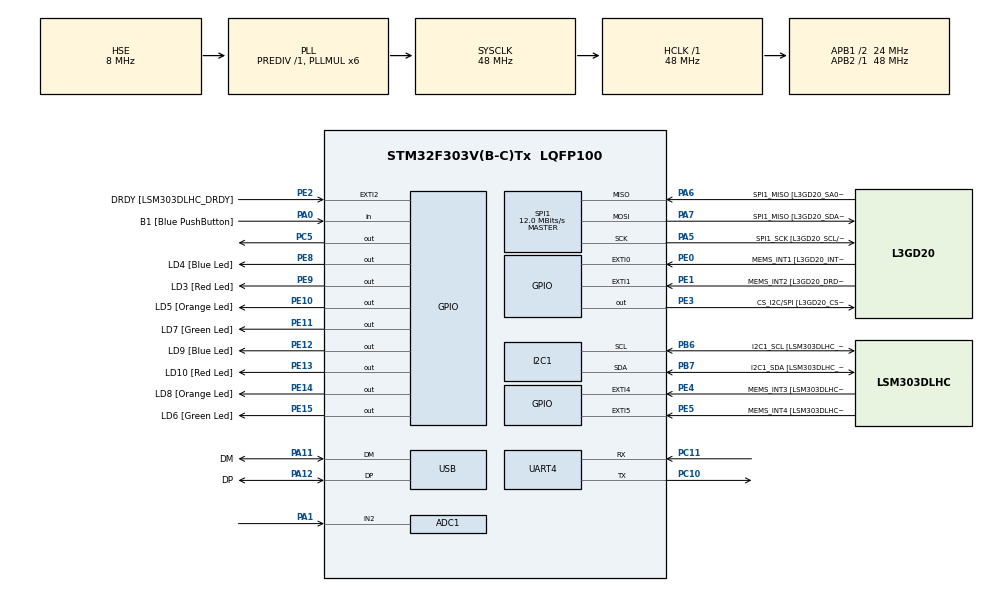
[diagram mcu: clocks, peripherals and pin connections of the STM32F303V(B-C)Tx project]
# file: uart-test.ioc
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ADC1.Channel-0\#ChannelRegularConversion=ADC_CHANNEL_2
ADC1.NbrOfConversionFlag=1
ADC1.Offset-0\#ChannelRegularConversion=0
ADC1.OffsetNumber-0\#ChannelRegularConversion=ADC_OFFSET_NONE
ADC1.Rank-0\#ChannelRegularConversion=1
ADC1.SamplingTime-0\#ChannelRegularConversion=ADC_SAMPLETIME_19CYCLES_5
ADC1.SamplingTimeOPAMP-0\#ChannelRegularConversion=ADC_SAMPLETIME_19CYCLES_5
ADC1.master=1
I2C1.Timing=0x2000090E
I2C1.Timing-I2C=0x2000090E
Mcu.Family=STM32F3
Mcu.Name=STM32F303V(B-C)Tx
Mcu.Package=LQFP100
NVIC.PriorityGroup=NVIC_PRIORITYGROUP_0
NVIC.UART4_IRQn=true\:0\:0\:false\:false\:true\:true\:true\:true
PA0.GPIO_Label=B1 [Blue PushButton]
PA0.Signal=GPIO_Input
PA1.Mode=IN2-Single-Ended
PA1.Signal=ADC1_IN2
PA11.GPIO_Label=DM
PA11.Mode=Device
PA11.Signal=USB_DM
PA12.GPIO_Label=DP
PA12.Mode=Device
PA12.Signal=USB_DP
PA13.GPIO_Label=SWDIO
PA13.Mode=Serial_Wire
PA13.Signal=SYS_JTMS-SWDIO
PA14.GPIO_Label=SWCLK
PA14.Mode=Serial_Wire
PA14.Signal=SYS_JTCK-SWCLK
PA5.GPIO_Label=SPI1_SCK [L3GD20_SCL/SPC]
PA5.Mode=Full_Duplex_Master
PA5.Signal=SPI1_SCK
PA6.GPIO_Label=SPI1_MISO [L3GD20_SA0/SDO]
PA6.Mode=Full_Duplex_Master
PA6.Signal=SPI1_MISO
PA7.GPIO_Label=SPI1_MISO [L3GD20_SDA/SDI/SDO]
PA7.Mode=Full_Duplex_Master
PA7.Signal=SPI1_MOSI
PB3.GPIO_Label=SWO
PB3.Signal=SYS_JTDO-TRACESWO
PB6.GPIO_Label=I2C1_SCL [LSM303DLHC_SCL]
PB6.GPIO_Pu=GPIO_PULLUP
PB6.Mode=I2C
PB6.Signal=I2C1_SCL
PB7.GPIO_Label=I2C1_SDA [LSM303DLHC_SDA]
PB7.GPIO_Pu=GPIO_PULLUP
PB7.Mode=I2C
PB7.Signal=I2C1_SDA
PC10.Mode=Asynchronous
PC10.Signal=UART4_TX
PC11.Mode=Asynchronous
PC11.Signal=UART4_RX
PC14-OSC32_IN.GPIO_Label=OSC32_IN
PC14-OSC32_IN.Signal=RCC_OSC32_IN
PC15-OSC32_OUT.GPIO_Label=OSC32_OUT
PC15-OSC32_OUT.Signal=RCC_OSC32_OUT
PC5.GPIO_ModeDefaultOutputPP=GPIO_MODE_OUTPUT_OD
PC5.GPIO_PuPd=GPIO_NOPULL
PC5.PinState=GPIO_PIN_SET
PC5.Signal=GPIO_Output
PE0.GPIO_Label=MEMS_INT1 [L3GD20_INT1]
PE0.GPIO_ModeDefaultEXTI=GPIO_MODE_EVT_RISING
PE0.Signal=GPXTI0
PE1.GPIO_Label=MEMS_INT2 [L3GD20_DRDY/INT2]
PE1.GPIO_ModeDefaultEXTI=GPIO_MODE_EVT_RISING
PE1.Signal=GPXTI1
PE10.GPIO_Label=LD5 [Orange Led]
PE10.Signal=GPIO_Output
PE11.GPIO_Label=LD7 [Green Led]
PE11.Signal=GPIO_Output
PE12.GPIO_Label=LD9 [Blue Led]
PE12.Signal=GPIO_Output
PE13.GPIO_Label=LD10 [Red Led]
PE13.Signal=GPIO_Output
PE14.GPIO_Label=LD8 [Orange Led]
PE14.Signal=GPIO_Output
PE15.GPIO_Label=LD6 [Green Led]
PE15.Signal=GPIO_Output
PE2.GPIO_Label=DRDY [LSM303DLHC_DRDY]
PE2.GPIO_ModeDefaultEXTI=GPIO_MODE_EVT_RISING
PE2.Signal=GPXTI2
PE3.GPIO_Label=CS_I2C/SPI [L3GD20_CS_I2C/SPI]
PE3.Signal=GPIO_Output
PE4.GPIO_Label=MEMS_INT3 [LSM303DLHC_INT1]
PE4.GPIO_ModeDefaultEXTI=GPIO_MODE_EVT_RISING
PE4.Signal=GPXTI4
PE5.GPIO_Label=MEMS_INT4 [LSM303DLHC_INT2]
PE5.GPIO_ModeDefaultEXTI=GPIO_MODE_EVT_RISING
PE5.Signal=GPXTI5
PE8.GPIO_Label=LD4 [Blue Led]
PE8.Signal=GPIO_Output
PE9.GPIO_Label=LD3 [Red Led]
PE9.Signal=GPIO_Output
PF0-OSC_IN.GPIO_Label=OSC_IN
PF0-OSC_IN.Mode=HSE-External-Clock-Source
PF0-OSC_IN.Signal=RCC_OSC_IN
PF1-OSC_OUT.GPIO_Label=OSC_OUT
PF1-OSC_OUT.Signal=RCC_OSC_OUT
ProjectManager.HeapSize=0x3000
ProjectManager.StackSize=0x1000
ProjectManager.TargetToolchain=STM32CubeIDE
RCC.AHBFreq_Value=48000000
RCC.APB1CLKDivider=RCC_HCLK_DIV2
RCC.APB1Freq_Value=24000000
RCC.APB1TimFreq_Value=48000000
RCC.APB2Freq_Value=48000000
RCC.APB2TimFreq_Value=48000000
RCC.CortexFreq_Value=48000000
RCC.HCLKFreq_Value=48000000
RCC.HSE_VALUE=8000000
RCC.HSI_VALUE=8000000
RCC.LSE_VALUE=32768
RCC.PLLMUL=RCC_PLL_MUL6
RCC.SYSCLKFreq_VALUE=48000000
RCC.SYSCLKSourceVirtual=RCC_SYSCLKSOURCE_PLLCLK
RCC.USBFreq_Value=48000000
SPI1.BaudRatePrescaler=SPI_BAUDRATEPRESCALER_4
SPI1.BaudRatePrescaler-Full_Duplex_Master=SPI_BAUDRATEPRESCALER_2
SPI1.CalculateBaudRate=12.0 MBits/s
SPI1.CalculateBaudRate-Full_Duplex_Master=24.0 MBits/s
SPI1.Direction=SPI_DIRECTION_2LINES
SPI1.Mode=SPI_MODE_MASTER
SPI1.Mode-Full_Duplex_Master=SPI_MODE_MASTER
SPI1.VirtualType=VM_MASTER
UART4.OverrunDisableParam=UART_ADVFEATURE_OVERRUN_DISABLE
board=STM32F3DISCOVERY

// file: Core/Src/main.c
/* USER CODE BEGIN Header */
/**
  ******************************************************************************
  * @file           : main.c
  * @brief          : Main program body
  ******************************************************************************
  * @attention
  *
  * Copyright (c) 2023 STMicroelectronics.
  * All rights reserved.
  *
  * This software is licensed under terms that can be found in the LICENSE file
  * in the root directory of this software component.
  * If no LICENSE file comes with this software, it is provided AS-IS.
  *
  ******************************************************************************
  */
/* USER CODE END Header */
#include "main.h"

/* USER CODE BEGIN Includes */
#include <stdio.h>
#include <string.h>
#include <ctype.h>
/* USER CODE END Includes */

ADC_HandleTypeDef hadc1;

I2C_HandleTypeDef hi2c1;

SPI_HandleTypeDef hspi1;

UART_HandleTypeDef huart4;

PCD_HandleTypeDef hpcd_USB_FS;

void SystemClock_Config(void);
static void MX_GPIO_Init(void);
static void MX_I2C1_Init(void);
static void MX_SPI1_Init(void);
static void MX_USB_PCD_Init(void);
static void MX_UART4_Init(void);
static void MX_ADC1_Init(void);

/* USER CODE BEGIN 0 */
// define global variable
input_buf_t project_input_buf;
int msgLen = 0;
char commandBuf[INPUT_BUF_SIZE + 1];
uint16_t readADC = 0;
int MODE = 0;
const int MODE_COUNT = 3;
int BLINK_COUNT = 0;
uint16_t LIGHTS_MASK = 0;
char valADC[16];
int TIMESTAMP = 0;
int OVERFLOW_LEVEL = 3000;
/**
 * Initialize input_line_buf_t object.
 */
int input_buf_init(input_buf_t *input_buf, UART_HandleTypeDef *huart) {
	 memset((void*) input_buf->buf, 0, INPUT_BUF_SIZE);
	 input_buf->pos = 0;
	 input_buf->huart = huart;
	 // enable interrupt
	 __HAL_UART_ENABLE_IT(&huart4, UART_IT_RXNE);
	 return 0;
}
/**
 * Read current content of the buffer.
 */
int input_buf_read_content(input_buf_t *input_buf, char *output) {
	 int pos = input_buf->pos;
		 // copy data to `output` buffer
		 for (int i = 0; i < INPUT_BUF_SIZE; i++) {
			 output[i] = input_buf->buf[pos];
			 pos++;
			 if (pos >= INPUT_BUF_SIZE) {
				 pos = 0;
			 }
	 }
	 return INPUT_BUF_SIZE;
}

/**
 * Process UART interruption.
 */
int input_buf_process_rxne_it(input_buf_t *input_buf) {
	 // ignore interrupt if it isn't related with received data
	 if (!__HAL_UART_GET_FLAG(input_buf->huart, UART_FLAG_RXNE)) {
		 return 0;
	 }
	 // process received data
	 char sym = input_buf->huart->Instance->RDR;
	 // save symbol into buffer
	 size_t pos = input_buf->pos;
	 input_buf->buf[pos] = sym;
	 commandBuf[msgLen % INPUT_BUF_SIZE] = sym;
	 pos++;
	 if (pos >= INPUT_BUF_SIZE) {
		 pos = 0;
	 }
	 msgLen++;
	 input_buf->pos = pos;
	 return 0;
}

void blink_lights(){
	HAL_GPIO_TogglePin(GPIOE, 0xFF00);
	BLINK_COUNT--;
	if(!BLINK_COUNT){
		HAL_GPIO_WritePin(GPIOE, 0xFF00, GPIO_PIN_RESET);
		HAL_GPIO_WritePin(GPIOE, LIGHTS_MASK, GPIO_PIN_SET);
	}
}

void read_disp_adc(ADC_HandleTypeDef channel){
	HAL_ADC_Start(&channel);
	HAL_ADC_PollForConversion(&channel, 20);
	readADC = HAL_ADC_GetValue(&channel);
	sprintf(valADC, "\nADC: %d", readADC);
	HAL_UART_Transmit(&huart4, (uint8_t*) valADC, strlen(valADC), HAL_MAX_DELAY);
}

void trig_on_ovwf(ADC_HandleTypeDef channel){
	HAL_ADC_Start(&channel);
	HAL_ADC_PollForConversion(&channel, 20);
	readADC = HAL_ADC_GetValue(&channel);
	if(readADC > OVERFLOW_LEVEL){
		HAL_GPIO_TogglePin(GPIOC, GPIO_PIN_5);
		HAL_UART_Transmit(&huart4, "\nTRIG", 5, HAL_MAX_DELAY);
	}

}
/* USER CODE END 0 */

int main(void)
{

  /* MCU Configuration--------------------------------------------------------*/

  /* Reset of all peripherals, Initializes the Flash interface and the Systick. */
  HAL_Init();

  /* Configure the system clock */
  SystemClock_Config();

  /* Initialize all configured peripherals */
  MX_GPIO_Init();
  MX_I2C1_Init();
  MX_SPI1_Init();
  MX_USB_PCD_Init();
  MX_UART4_Init();
  MX_ADC1_Init();
  /* USER CODE BEGIN 2 */
   input_buf_init(&project_input_buf, &huart4);
   char outputBuf[32];
   commandBuf[INPUT_BUF_SIZE] = '\n';

   for(int i = 0; i < INPUT_BUF_SIZE; i++){
   	   commandBuf[i] = '\0';
   }

   char output_buf[INPUT_BUF_SIZE + 32];
   int size;
   int offset;
   char sym;
   MODE = 0;
   HAL_UART_Transmit(&huart4, "Start", 5, HAL_MAX_DELAY);
  /* USER CODE END 2 */

  /* Infinite loop */
  /* USER CODE BEGIN WHILE */
   while (1) {

	   if(BLINK_COUNT)
		   blink_lights();

	   switch(MODE){
	   case 0:
		   break;
	   case 1:
		   if(HAL_GetTick() - TIMESTAMP > 1000){
			   TIMESTAMP = HAL_GetTick();
			   read_disp_adc(hadc1);
		   }
		   break;
	   case 2:
		   trig_on_ovwf(hadc1);
		   break;
	   default:
		   break;
	   }

	   strcpy(output_buf, "input buf: \"");
	   offset = strlen(output_buf);
	   if(msgLen){
		   int n = 0;
		   int cmd_len = strlen(commandBuf);
		   sscanf(commandBuf, "AT+SAYHELLO%n", &n);

		   if (n == cmd_len & !strncmp(commandBuf, "AT+SAYHELLO", 11)){
			   strcpy(outputBuf, "Hello world!");
		   }

		   sscanf(commandBuf, "AT+TOGGLELIGHTS%n", &n);
		   if (n == cmd_len & !strncmp(commandBuf, "AT+TOGGLELIGHTS", 15)){
			   if(!BLINK_COUNT)
				   HAL_GPIO_TogglePin(GPIOE, 0xFF00);
		   }

		   sscanf(commandBuf, "AT+READCHANNEL=%*d,%n", &n);
		   if (!strncmp(commandBuf, "AT+READCHANNEL=", 15)){
			   int chnl = 0;
			   sscanf(commandBuf, "AT+READCHANNEL=%d", &chnl);
			   ADC_HandleTypeDef channel;
			   int flag = 0;
			   switch(chnl){
			   case 1:
				   channel = hadc1;
				   flag = 1;
				   break;
			   default:
				   break;
			   }
			   if(flag){
				   read_disp_adc(channel);
			   	   strcpy(outputBuf, "OK");
			   }
			   else
				   strcpy(outputBuf, "ERROR");
		   }

		   sscanf(commandBuf, "AT+MASKLIGHTS=%*d,%n", &n);
		    if (!strncmp(commandBuf, "AT+MASKLIGHTS=", 14)){
		    	HAL_UART_Transmit(&huart4, "IN\n", 3, HAL_MAX_DELAY);
		    	uint8_t mask = 0;
		    	sscanf(commandBuf, "AT+MASKLIGHTS=%d", &mask);
		    	if(!BLINK_COUNT){
					HAL_GPIO_WritePin(GPIOE, 0xFF00, GPIO_PIN_RESET);
					HAL_GPIO_WritePin(GPIOE, mask << 8, GPIO_PIN_SET);
		    	}
		   		LIGHTS_MASK = mask << 8;
		    }

			sscanf(commandBuf, "AT+TIME%n", &n);
			if (!strncmp(commandBuf, "AT+TIME", 7)){
				sprintf(outputBuf, "+TIME:%d", HAL_GetTick());
		    }

		   sscanf(commandBuf, "AT+MODE%n", &n);
			if (!strncmp(commandBuf, "AT+MODE", 7)){
				sprintf(outputBuf, "+MODE:%d", MODE);
			}

			sscanf(commandBuf, "AT+SETMODE:%*d,%n", &n);

			if (!strncmp(commandBuf, "AT+SETMODE:", 11)){
				int tempMode = -1;
				sscanf(commandBuf, "AT+SETMODE:%d", &tempMode);
				if(tempMode >= 0 & tempMode <= MODE_COUNT){
					MODE = tempMode % (MODE_COUNT - 1);
					strcpy(outputBuf, "OK");
				}
				else {
					strcpy(outputBuf, "ERROR");
				}
			}
			if (!strncmp(commandBuf, "AT+OWLEVEL:", 12)){
				int level = -1;
				sscanf(commandBuf, "AT+OWLEVEL:%d", &level);
				if(level >= 0){
					OVERFLOW_LEVEL = level;
					strcpy(outputBuf, "OK");
				}
				else {
					strcpy(outputBuf, "ERROR");
				}
			}
			sscanf(commandBuf, "AT+BLINK=%*d,%n", &n);
			if (!strncmp(commandBuf, "AT+BLINK=", 9)){
				int blinks = 0;
				sscanf(commandBuf, "AT+BLINK=%d", &blinks);
				if(blinks > 0){
					BLINK_COUNT += 2 * blinks;
					HAL_GPIO_WritePin(GPIOE, 0xFF00, GPIO_PIN_RESET);
					//blink_lights(blinks);
					strcpy(outputBuf, "OK");
				}
				else
					strcpy(outputBuf, "ERROR");
			}

		   if(strlen(outputBuf)){
			   HAL_UART_Transmit(&huart4, "\n", 1, HAL_MAX_DELAY);
		   	   HAL_UART_Transmit(&huart4, (uint8_t*) outputBuf, strlen(outputBuf), HAL_MAX_DELAY);
		   }

		   //Clear output buf
		   for(int i = 0; i < INPUT_BUF_SIZE; i++){
		      commandBuf[i] = '\0';
		      outputBuf[i] = '\0';
		   }
		   msgLen = 0;
	   }

	   offset += size;
	   strcpy(output_buf + offset, "\"\n");
	   HAL_Delay(100);
    /* USER CODE END WHILE */
   }
}

void SystemClock_Config(void)
{
  RCC_OscInitTypeDef RCC_OscInitStruct = {0};
  RCC_ClkInitTypeDef RCC_ClkInitStruct = {0};
  RCC_PeriphCLKInitTypeDef PeriphClkInit = {0};

  /** Initializes the RCC Oscillators according to the specified parameters
  * in the RCC_OscInitTypeDef structure.
  */
  RCC_OscInitStruct.OscillatorType = RCC_OSCILLATORTYPE_HSI|RCC_OSCILLATORTYPE_HSE;
  RCC_OscInitStruct.HSEState = RCC_HSE_BYPASS;
  RCC_OscInitStruct.HSEPredivValue = RCC_HSE_PREDIV_DIV1;
  RCC_OscInitStruct.HSIState = RCC_HSI_ON;
  RCC_OscInitStruct.HSICalibrationValue = RCC_HSICALIBRATION_DEFAULT;
  RCC_OscInitStruct.PLL.PLLState = RCC_PLL_ON;
  RCC_OscInitStruct.PLL.PLLSource = RCC_PLLSOURCE_HSE;
  RCC_OscInitStruct.PLL.PLLMUL = RCC_PLL_MUL6;
  if (HAL_RCC_OscConfig(&RCC_OscInitStruct) != HAL_OK)
  {
    Error_Handler();
  }

  /** Initializes the CPU, AHB and APB buses clocks
  */
  RCC_ClkInitStruct.ClockType = RCC_CLOCKTYPE_HCLK|RCC_CLOCKTYPE_SYSCLK
                              |RCC_CLOCKTYPE_PCLK1|RCC_CLOCKTYPE_PCLK2;
  RCC_ClkInitStruct.SYSCLKSource = RCC_SYSCLKSOURCE_PLLCLK;
  RCC_ClkInitStruct.AHBCLKDivider = RCC_SYSCLK_DIV1;
  RCC_ClkInitStruct.APB1CLKDivider = RCC_HCLK_DIV2;
  RCC_ClkInitStruct.APB2CLKDivider = RCC_HCLK_DIV1;

  if (HAL_RCC_ClockConfig(&RCC_ClkInitStruct, FLASH_LATENCY_1) != HAL_OK)
  {
    Error_Handler();
  }
  PeriphClkInit.PeriphClockSelection = RCC_PERIPHCLK_USB|RCC_PERIPHCLK_UART4
                              |RCC_PERIPHCLK_I2C1|RCC_PERIPHCLK_ADC12;
  PeriphClkInit.Uart4ClockSelection = RCC_UART4CLKSOURCE_PCLK1;
  PeriphClkInit.Adc12ClockSelection = RCC_ADC12PLLCLK_DIV1;
  PeriphClkInit.I2c1ClockSelection = RCC_I2C1CLKSOURCE_HSI;
  PeriphClkInit.USBClockSelection = RCC_USBCLKSOURCE_PLL;
  if (HAL_RCCEx_PeriphCLKConfig(&PeriphClkInit) != HAL_OK)
  {
    Error_Handler();
  }
}

static void MX_ADC1_Init(void)
{

  ADC_MultiModeTypeDef multimode = {0};
  ADC_ChannelConfTypeDef sConfig = {0};

  /** Common config
  */
  hadc1.Instance = ADC1;
  hadc1.Init.ClockPrescaler = ADC_CLOCK_ASYNC_DIV1;
  hadc1.Init.Resolution = ADC_RESOLUTION_12B;
  hadc1.Init.ScanConvMode = ADC_SCAN_DISABLE;
  hadc1.Init.ContinuousConvMode = DISABLE;
  hadc1.Init.DiscontinuousConvMode = DISABLE;
  hadc1.Init.ExternalTrigConvEdge = ADC_EXTERNALTRIGCONVEDGE_NONE;
  hadc1.Init.ExternalTrigConv = ADC_SOFTWARE_START;
  hadc1.Init.DataAlign = ADC_DATAALIGN_RIGHT;
  hadc1.Init.NbrOfConversion = 1;
  hadc1.Init.DMAContinuousRequests = DISABLE;
  hadc1.Init.EOCSelection = ADC_EOC_SINGLE_CONV;
  hadc1.Init.LowPowerAutoWait = DISABLE;
  hadc1.Init.Overrun = ADC_OVR_DATA_OVERWRITTEN;
  if (HAL_ADC_Init(&hadc1) != HAL_OK)
  {
    Error_Handler();
  }

  /** Configure the ADC multi-mode
  */
  multimode.Mode = ADC_MODE_INDEPENDENT;
  if (HAL_ADCEx_MultiModeConfigChannel(&hadc1, &multimode) != HAL_OK)
  {
    Error_Handler();
  }

  /** Configure Regular Channel
  */
  sConfig.Channel = ADC_CHANNEL_2;
  sConfig.Rank = ADC_REGULAR_RANK_1;
  sConfig.SingleDiff = ADC_SINGLE_ENDED;
  sConfig.SamplingTime = ADC_SAMPLETIME_19CYCLES_5;
  sConfig.OffsetNumber = ADC_OFFSET_NONE;
  sConfig.Offset = 0;
  if (HAL_ADC_ConfigChannel(&hadc1, &sConfig) != HAL_OK)
  {
    Error_Handler();
  }

}

static void MX_I2C1_Init(void)
{

  hi2c1.Instance = I2C1;
  hi2c1.Init.Timing = 0x2000090E;
  hi2c1.Init.OwnAddress1 = 0;
  hi2c1.Init.AddressingMode = I2C_ADDRESSINGMODE_7BIT;
  hi2c1.Init.DualAddressMode = I2C_DUALADDRESS_DISABLE;
  hi2c1.Init.OwnAddress2 = 0;
  hi2c1.Init.OwnAddress2Masks = I2C_OA2_NOMASK;
  hi2c1.Init.GeneralCallMode = I2C_GENERALCALL_DISABLE;
  hi2c1.Init.NoStretchMode = I2C_NOSTRETCH_DISABLE;
  if (HAL_I2C_Init(&hi2c1) != HAL_OK)
  {
    Error_Handler();
  }

  /** Configure Analogue filter
  */
  if (HAL_I2CEx_ConfigAnalogFilter(&hi2c1, I2C_ANALOGFILTER_ENABLE) != HAL_OK)
  {
    Error_Handler();
  }

  /** Configure Digital filter
  */
  if (HAL_I2CEx_ConfigDigitalFilter(&hi2c1, 0) != HAL_OK)
  {
    Error_Handler();
  }

}

static void MX_SPI1_Init(void)
{

  /* SPI1 parameter configuration*/
  hspi1.Instance = SPI1;
  hspi1.Init.Mode = SPI_MODE_MASTER;
  hspi1.Init.Direction = SPI_DIRECTION_2LINES;
  hspi1.Init.DataSize = SPI_DATASIZE_4BIT;
  hspi1.Init.CLKPolarity = SPI_POLARITY_LOW;
  hspi1.Init.CLKPhase = SPI_PHASE_1EDGE;
  hspi1.Init.NSS = SPI_NSS_SOFT;
  hspi1.Init.BaudRatePrescaler = SPI_BAUDRATEPRESCALER_4;
  hspi1.Init.FirstBit = SPI_FIRSTBIT_MSB;
  hspi1.Init.TIMode = SPI_TIMODE_DISABLE;
  hspi1.Init.CRCCalculation = SPI_CRCCALCULATION_DISABLE;
  hspi1.Init.CRCPolynomial = 7;
  hspi1.Init.CRCLength = SPI_CRC_LENGTH_DATASIZE;
  hspi1.Init.NSSPMode = SPI_NSS_PULSE_ENABLE;
  if (HAL_SPI_Init(&hspi1) != HAL_OK)
  {
    Error_Handler();
  }

}

static void MX_UART4_Init(void)
{

  huart4.Instance = UART4;
  huart4.Init.BaudRate = 115200;
  huart4.Init.WordLength = UART_WORDLENGTH_8B;
  huart4.Init.StopBits = UART_STOPBITS_1;
  huart4.Init.Parity = UART_PARITY_NONE;
  huart4.Init.Mode = UART_MODE_TX_RX;
  huart4.Init.HwFlowCtl = UART_HWCONTROL_NONE;
  huart4.Init.OverSampling = UART_OVERSAMPLING_16;
  huart4.Init.OneBitSampling = UART_ONE_BIT_SAMPLE_DISABLE;
  huart4.AdvancedInit.AdvFeatureInit = UART_ADVFEATURE_RXOVERRUNDISABLE_INIT;
  huart4.AdvancedInit.OverrunDisable = UART_ADVFEATURE_OVERRUN_DISABLE;
  if (HAL_UART_Init(&huart4) != HAL_OK)
  {
    Error_Handler();
  }

}

static void MX_USB_PCD_Init(void)
{

  hpcd_USB_FS.Instance = USB;
  hpcd_USB_FS.Init.dev_endpoints = 8;
  hpcd_USB_FS.Init.speed = PCD_SPEED_FULL;
  hpcd_USB_FS.Init.phy_itface = PCD_PHY_EMBEDDED;
  hpcd_USB_FS.Init.low_power_enable = DISABLE;
  hpcd_USB_FS.Init.battery_charging_enable = DISABLE;
  if (HAL_PCD_Init(&hpcd_USB_FS) != HAL_OK)
  {
    Error_Handler();
  }

}

static void MX_GPIO_Init(void)
{
  GPIO_InitTypeDef GPIO_InitStruct = {0};

  /* GPIO Ports Clock Enable */
  __HAL_RCC_GPIOE_CLK_ENABLE();
  __HAL_RCC_GPIOC_CLK_ENABLE();
  __HAL_RCC_GPIOF_CLK_ENABLE();
  __HAL_RCC_GPIOA_CLK_ENABLE();
  __HAL_RCC_GPIOB_CLK_ENABLE();

  /*Configure GPIO pin Output Level */
  HAL_GPIO_WritePin(GPIOE, CS_I2C_SPI_Pin|LD4_Pin|LD3_Pin|LD5_Pin
                          |LD7_Pin|LD9_Pin|LD10_Pin|LD8_Pin
                          |LD6_Pin, GPIO_PIN_RESET);

  /*Configure GPIO pin Output Level */
  HAL_GPIO_WritePin(GPIOC, GPIO_PIN_5, GPIO_PIN_SET);

  /*Configure GPIO pins : DRDY_Pin MEMS_INT3_Pin MEMS_INT4_Pin MEMS_INT1_Pin
                           MEMS_INT2_Pin */
  GPIO_InitStruct.Pin = DRDY_Pin|MEMS_INT3_Pin|MEMS_INT4_Pin|MEMS_INT1_Pin
                          |MEMS_INT2_Pin;
  GPIO_InitStruct.Mode = GPIO_MODE_EVT_RISING;
  GPIO_InitStruct.Pull = GPIO_NOPULL;
  HAL_GPIO_Init(GPIOE, &GPIO_InitStruct);

  /*Configure GPIO pins : CS_I2C_SPI_Pin LD4_Pin LD3_Pin LD5_Pin
                           LD7_Pin LD9_Pin LD10_Pin LD8_Pin
                           LD6_Pin */
  GPIO_InitStruct.Pin = CS_I2C_SPI_Pin|LD4_Pin|LD3_Pin|LD5_Pin
                          |LD7_Pin|LD9_Pin|LD10_Pin|LD8_Pin
                          |LD6_Pin;
  GPIO_InitStruct.Mode = GPIO_MODE_OUTPUT_PP;
  GPIO_InitStruct.Pull = GPIO_NOPULL;
  GPIO_InitStruct.Speed = GPIO_SPEED_FREQ_LOW;
  HAL_GPIO_Init(GPIOE, &GPIO_InitStruct);

  /*Configure GPIO pin : B1_Pin */
  GPIO_InitStruct.Pin = B1_Pin;
  GPIO_InitStruct.Mode = GPIO_MODE_INPUT;
  GPIO_InitStruct.Pull = GPIO_NOPULL;
  HAL_GPIO_Init(B1_GPIO_Port, &GPIO_InitStruct);

  /*Configure GPIO pin : PC5 */
  GPIO_InitStruct.Pin = GPIO_PIN_5;
  GPIO_InitStruct.Mode = GPIO_MODE_OUTPUT_OD;
  GPIO_InitStruct.Pull = GPIO_NOPULL;
  GPIO_InitStruct.Speed = GPIO_SPEED_FREQ_LOW;
  HAL_GPIO_Init(GPIOC, &GPIO_InitStruct);

}

void Error_Handler(void)
{
  __disable_irq();
  while (1)
  {
  }
}
